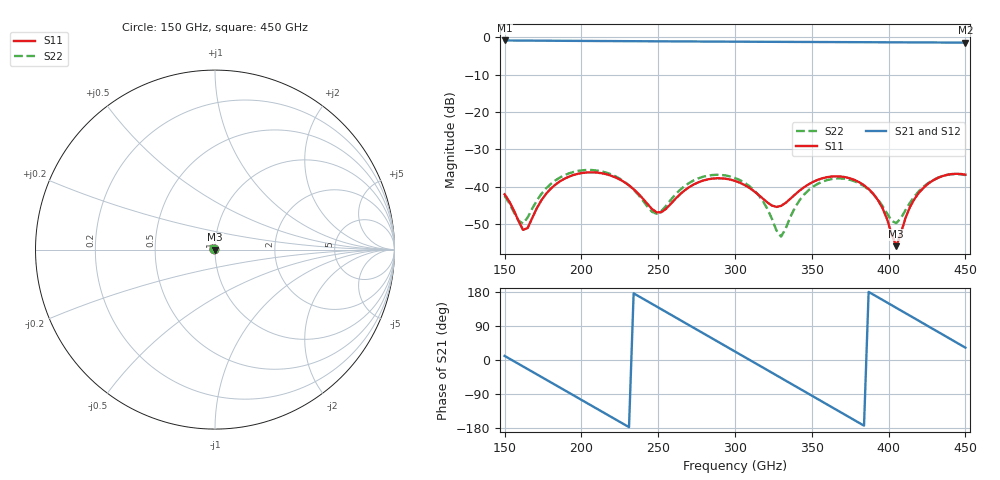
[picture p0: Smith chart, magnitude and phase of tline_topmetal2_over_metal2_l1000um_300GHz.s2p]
#  GHZ S DB R 50
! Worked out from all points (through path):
!   101 points, 150 GHz to 450 GHz, reference 50 ohm
!   highest |S21| = -0.85 dB at 150 GHz (marker M1); lowest = -1.4 dB at 450 GHz (marker M2)
!   group delay of S21, straight-line fit = 6.47 ps
!   lowest |S11| = -55.9 dB at 405 GHz (marker M3), VSWR 1.00, Z = 50.1 - j0.0598 ohm
!   |S11| at or under -10 dB: start of sweep to end of sweep
!   |S22| runs from -53.3 to -35.5 dB; largest |S21 - S12| = 1.5e-13
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150  -42.00 137.2  -0.85 10.9  -0.85 10.9  -42.41 133.9
162  -51.51 46.0  -0.88 -17.0  -0.88 -17.0  -49.82 28.8
183  -39.43 -103.1  -0.94 -65.7  -0.94 -65.7  -38.29 -97.9
201  -36.26 -159.7  -0.98 -107.5  -0.98 -107.5  -35.56 -153.8
228  -38.76 114.5  -1.04 -170.2  -1.04 -170.2  -38.63 121.4
246  -45.94 23.5  -1.07 148.0  -1.07 148.0  -46.68 23.4
252  -46.81 -30.2  -1.09 134.0  -1.09 134.0  -46.55 -35.2
276  -38.81 -156.2  -1.13 78.2  -1.13 78.2  -37.75 -149.7
300  -38.42 124.7  -1.18 22.4  -1.18 22.4  -37.63 138.3
315  -42.03 65.3  -1.21 -12.5  -1.21 -12.5  -42.07 90.7
330  -45.10 -37.8  -1.23 -47.5  -1.23 -47.5  -53.34 -27.4
342  -41.03 -109.0  -1.25 -75.4  -1.25 -75.4  -43.61 -127.0
351  -38.64 -143.7  -1.27 -96.4  -1.27 -96.4  -39.92 -158.0
369  -37.25 160.2  -1.30 -138.3  -1.30 -138.3  -37.77 148.9
384  -39.58 116.4  -1.32 -173.3  -1.32 -173.3  -39.83 103.4
396  -45.67 75.4  -1.34 158.7  -1.34 158.7  -45.11 54.3
402  -52.72 33.7  -1.35 144.7  -1.35 144.7  -49.08 6.7
405  -55.87 -21.8  -1.35 137.7  -1.35 137.7  -49.72 -29.1
414  -45.35 -115.8  -1.37 116.7  -1.37 116.7  -44.19 -105.2
423  -40.15 -146.7  -1.38 95.7  -1.38 95.7  -39.87 -141.9
435  -37.14 179.9  -1.40 67.6  -1.40 67.6  -37.13 -178.9
450  -36.75 140.8  -1.43 32.6  -1.43 32.6  -36.87 139.0
